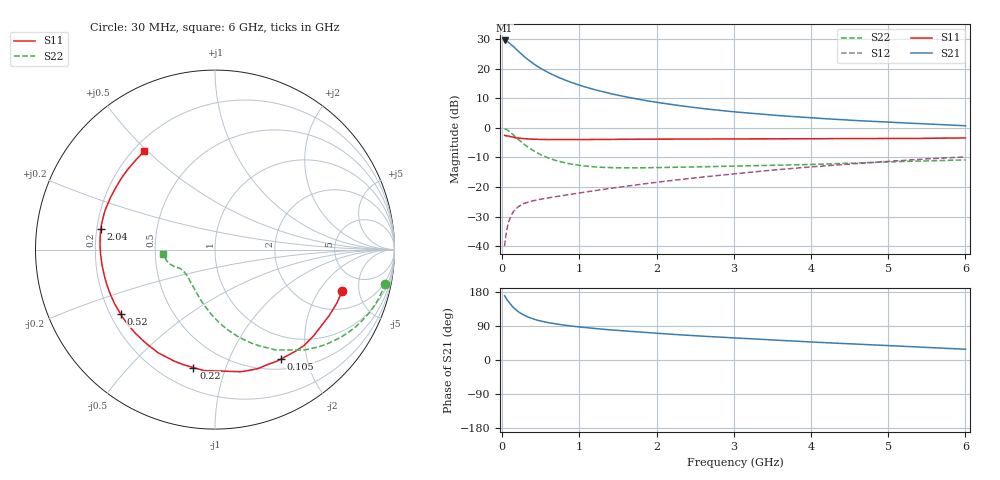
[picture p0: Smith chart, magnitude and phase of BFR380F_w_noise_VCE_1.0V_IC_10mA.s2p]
! (c) 2015  Infineon Technologies AG, Munich
! Infineon Technologies  Discrete & RF Semiconductors
! BFR380F
! VCE =  1.0 V,  IC =  10 mA
! Common Emitter S-Parameters:  Nov 2015
# GHz  S  MA  R  50
!  f  S11  S21  S12  S22
! GHz  MAG  ANG  MAG  ANG  MAG  ANG  MAG  ANG
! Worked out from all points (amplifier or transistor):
!   206 points, 30 MHz to 6 GHz, reference 50 ohm
!   highest |S21| = 29.5 dB at 30 MHz (marker M1)
!   |S21| within 3 dB of that: start of sweep to 181.5 MHz
!   unconditionally stable (mu >= 1): 1.625 GHz to end of sweep
!   at 200 MHz: K = 0.23, MSG = 26.4 dB, |S12| = -26.7 dB
!   at 1.56 GHz: K = 0.99, MSG = 15.3 dB, |S12| = -19.8 dB
!   at 6 GHz: K = 1.01, MAG = 4.8 dB, |S12| = -9.8 dB
!   lowest NFmin = 0.86 dB at 900 MHz
!   S11 on the Smith chart (normalised r, x): 30 MHz: 3.21, -3.35; 105 MHz: 0.64, -1.58; 220 MHz: 0.33, -0.78; 520 MHz: 0.24, -0.29; 2.04 GHz: 0.22, +0.09; 6 GHz: 0.24, +0.49
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0.03  0.7461 -18.1  29.78 169.8  0.0101 81.8  0.9672 -11.3
0.05  0.7348 -30.1  29.29 162.8  0.0167 76.2  0.9452 -18.6
0.07  0.7297 -41.3  28.26 156.8  0.0223 71.2  0.9117 -25.5
0.105  0.7121 -58.9  26.06 147.5  0.031 63.9  0.8426 -36.4
0.12  0.7041 -65.8  25.05 143.8  0.0342 61.1  0.8114 -40.7
0.15  0.6951 -78.2  23.1 137.2  0.0395 56.4  0.7491 -48.3
0.2  0.6769 -95.3  19.99 128.3  0.046 50.6  0.6528 -58.9
0.22  0.6681 -100.4  18.94 125.9  0.0478 48.9  0.6194 -62.0
0.26  0.6614 -110.2  17 120.7  0.0513 46.1  0.5596 -68.7
0.3  0.6564 -118.8  15.31 116.2  0.054 44.1  0.508 -74.5
0.34  0.6488 -125.3  13.92 112.9  0.0561 42.7  0.466 -79.3
0.42  0.6415 -136.0  11.7 107.1  0.0597 41.3  0.4003 -87.6
0.52  0.6367 -145.6  9.718 101.9  0.0634 41.0  0.343 -96.0
0.7  0.6338 -157.6  7.36 95.0  0.0693 42.3  0.2799 -108.5
1.04  0.6343 -170.8  5.051 86.3  0.0812 46.6  0.2294 -124.8
1.4  0.6387 -179.6  3.784 79.5  0.0951 50.8  0.2134 -136.3
2.02  0.646 170.1  2.671 70.3  0.1217 55.4  0.2137 -146.4
2.04  0.6462 169.8  2.648 70.0  0.1226 55.5  0.2139 -146.6
3.1  0.6496 157.5  1.818 57.3  0.1729 58.4  0.2276 -153.5
4.1  0.6525 146.6  1.448 46.6  0.2245 57.5  0.2432 -156.8
5.1  0.6607 136.3  1.23 37.1  0.2772 54.8  0.2689 -163.9
6  0.6758 125.8  1.085 28.4  0.3238 50.7  0.288 -175.1
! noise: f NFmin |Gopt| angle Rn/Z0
0.45  0.87  0.09  98  0.09
0.9  0.86  0.18  132  0.08
1.8  1.14  0.33  166  0.08
1.9  1.23  0.34  167  0.07
2.4  1.37  0.37  -178  0.08
3.5  2  0.48  -160  0.11
